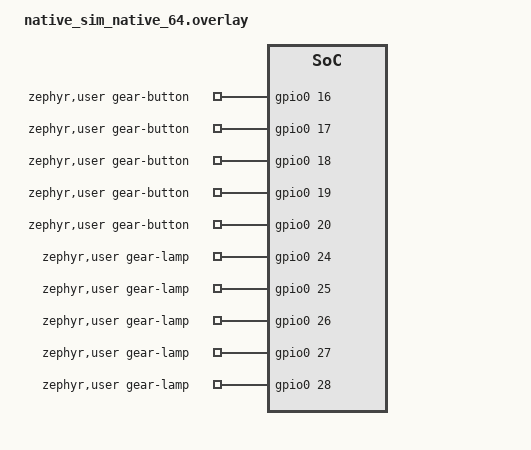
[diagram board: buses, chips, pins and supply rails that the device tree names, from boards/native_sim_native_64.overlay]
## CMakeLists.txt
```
# SPDX-License-Identifier: GPL-3.0-or-later
# The gear buttons and lamps of the VDC on gpio_emul (hardware/zephyr_common/vdc_gear_io.cpp).
cmake_minimum_required(VERSION 3.20.0)

find_package(Zephyr REQUIRED HINTS $ENV{ZEPHYR_BASE})
project(unimoc_test_vdc_gear_io)

set(UNIMOC_ROOT ${ZEPHYR_UNIMOC_MODULE_DIR})

target_sources(app PRIVATE
  src/main.cpp
  ${UNIMOC_ROOT}/hardware/zephyr_common/vdc_gear_io.cpp)
target_include_directories(app PRIVATE
  ${UNIMOC_ROOT}/hardware/zephyr_common
  ${UNIMOC_ROOT}/tests/common)
target_link_libraries(app PRIVATE unimoc_lib)
```

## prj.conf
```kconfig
# SPDX-License-Identifier: GPL-3.0-or-later
CONFIG_ZTEST=y
CONFIG_CPP=y
CONFIG_UNIMOC=y
CONFIG_STD_CPP20=y
CONFIG_REQUIRES_FULL_LIBCPP=y
CONFIG_ZTEST_STACK_SIZE=8192
# Float values in the failure messages of tests/common/unimoc_test.hpp.
CONFIG_CBPRINTF_FP_SUPPORT=y
CONFIG_GPIO=y
```

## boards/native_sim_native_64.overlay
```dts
/*
 * SPDX-License-Identifier: GPL-3.0-or-later
 *
 * The gear pins of the simulated VDC (apps/vdc/boards/native_sim_native_64.overlay).
 */

#include <zephyr/dt-bindings/gpio/gpio.h>

/ {
	zephyr,user {
		gear-button-gpios = <&gpio0 16 GPIO_ACTIVE_HIGH>, <&gpio0 17 GPIO_ACTIVE_HIGH>,
				    <&gpio0 18 GPIO_ACTIVE_HIGH>, <&gpio0 19 GPIO_ACTIVE_HIGH>,
				    <&gpio0 20 GPIO_ACTIVE_HIGH>;
		gear-lamp-gpios = <&gpio0 24 GPIO_ACTIVE_HIGH>, <&gpio0 25 GPIO_ACTIVE_HIGH>,
				  <&gpio0 26 GPIO_ACTIVE_HIGH>, <&gpio0 27 GPIO_ACTIVE_HIGH>,
				  <&gpio0 28 GPIO_ACTIVE_HIGH>;
	};
};
```

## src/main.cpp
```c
/*
 *       __  ___   ________  _______  ______
 *      / / / / | / /  _/  |/  / __ \/ ____/
 *     / / / /  |/ // // /|_/ / / / / /
 *    / /_/ / /|  // //  /  / /_/ / /___
 *    \____/_/ |_/___/_/  /_/\____/\____/
 *
 *    @file main.cpp
 *    @brief ztest suite of the gear buttons and lamps of the VDC on gpio_emul.
 *
 *    SPDX-License-Identifier: GPL-3.0-or-later
 *
 *    This file is part of UNIMOC and is licensed under GPL-3.0-or-later.
 *    See the repository LICENSE file for details.
 */
#include <zephyr/device.h>
#include <zephyr/drivers/gpio/gpio_emul.h>
#include <zephyr/ztest.h>
#include "vdc_gear_io.hpp"

namespace unimoc::hardware::test {

namespace {

constexpr gpio_pin_t kFirstButtonPin = 16U;
constexpr gpio_pin_t kFirstLampPin = 24U;

const struct device* Gpio() { return DEVICE_DT_GET(DT_NODELABEL(gpio0)); }

}  // namespace

ZTEST(vdc_gear_io, test_buttons_read_pressed_one_by_one) {
  zassert_true(InitGearIo());
  for (std::size_t i = 0U; i < vehicle::kGearButtonCount; ++i) {
    const auto kPin = static_cast<gpio_pin_t>(kFirstButtonPin + i);
    zassert_ok(gpio_emul_input_set(Gpio(), kPin, 1));
    const vehicle::GearButtonStates kStates = ReadGearButtons();
    for (std::size_t j = 0U; j < vehicle::kGearButtonCount; ++j) {
      zexpect_equal(kStates[j], i == j);
    }
    zassert_ok(gpio_emul_input_set(Gpio(), kPin, 0));
  }
}

ZTEST(vdc_gear_io, test_lamps_follow_the_request) {
  zassert_true(InitGearIo());
  vehicle::PerGearButton<bool> lamps{};
  lamps[vehicle::GearButton(1)] = true;
  WriteGearLamps(lamps);
  for (std::size_t i = 0U; i < vehicle::kGearButtonCount; ++i) {
    const auto kPin = static_cast<gpio_pin_t>(kFirstLampPin + i);
    zexpect_equal(gpio_emul_output_get(Gpio(), kPin), (i == vehicle::GearButton(1)) ? 1 : 0);
  }
  WriteGearLamps(vehicle::PerGearButton<bool>{});
  zexpect_equal(gpio_emul_output_get(Gpio(), static_cast<gpio_pin_t>(kFirstLampPin + vehicle::GearButton(1))),
                0);
}

ZTEST_SUITE(vdc_gear_io, nullptr, nullptr, nullptr, nullptr, nullptr);

}  // namespace unimoc::hardware::test
```
